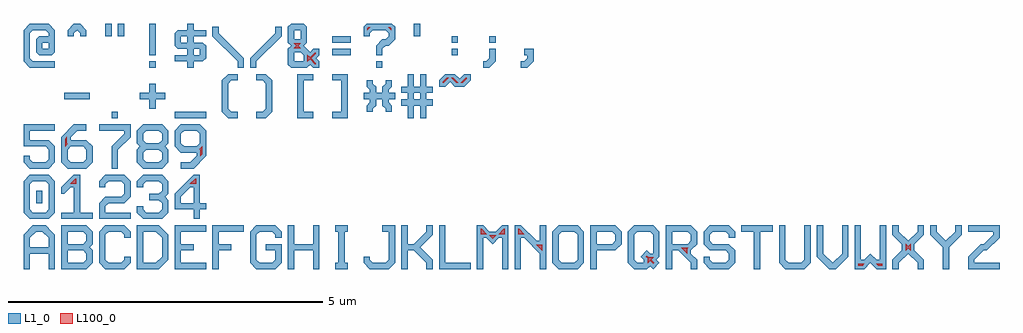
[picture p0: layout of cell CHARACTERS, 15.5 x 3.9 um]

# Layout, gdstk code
import gdstk
lib = gdstk.Library(unit=1e-6, precision=1e-09)
def R(c, l, rs):  # rectangles x0, y0, x1, y1
    for r in rs: c.add(gdstk.rectangle(r[:2], r[2:], *l))
def P(c, l, *ps):  # polygons
    for p in ps: c.add(gdstk.Polygon(p, *l))
L1_0 = (1, 0)
L100_0 = (100, 0)

c_0 = lib.new_cell('0')
R(c_0, L1_0, [(0.2,0.25,0.3,0.45)])
P(c_0, L1_0, [(0.1,0),(0,0.1),(0,0.6),(0.1,0.7),(0.4,0.7),(0.5,0.6),(0.15,0.6),(0.1,0.55),(0.1,0.15),(0.15,0.1),(0.35,0.1),(0.4,0.15),(0.4,0.55),(0.35,0.6),(0.5,0.6),(0.5,0.1),(0.4,0)])

c_8 = lib.new_cell('8')
P(c_8, L1_0, [(0.1,0),(0,0.1),(0,0.3),(0.05,0.35),(0,0.4),(0,0.6),(0.1,0.7),(0.4,0.7),(0.5,0.6),(0.15,0.6),(0.1,0.55),(0.1,0.45),(0.15,0.4),(0.35,0.4),(0.4,0.45),(0.4,0.55),(0.35,0.6),(0.5,0.6),(0.5,0.4),(0.45,0.35),(0.5,0.3),(0.15,0.3),(0.1,0.25),(0.1,0.15),(0.15,0.1),(0.35,0.1),(0.4,0.15),(0.4,0.25),(0.35,0.3),(0.5,0.3),(0.5,0.1),(0.4,0)])

c_5 = lib.new_cell('5')
P(c_5, L1_0, [(0.1,0),(0,0.1),(0,0.2),(0.1,0.2),(0.1,0.15),(0.15,0.1),(0.35,0.1),(0.4,0.15),(0.4,0.3),(0.35,0.35),(0,0.35),(0,0.7),(0.5,0.7),(0.5,0.6),(0.1,0.6),(0.1,0.45),(0.4,0.45),(0.5,0.35),(0.5,0.1),(0.4,0)])

c_2 = lib.new_cell('2')
P(c_2, L1_0, [(0,0),(0,0.25),(0.1,0.35),(0.35,0.35),(0.4,0.4),(0.4,0.55),(0.35,0.6),(0.15,0.6),(0.1,0.55),(0.1,0.5),(0,0.5),(0,0.6),(0.1,0.7),(0.4,0.7),(0.5,0.6),(0.5,0.35),(0.4,0.25),(0.15,0.25),(0.1,0.2),(0.1,0.1),(0.5,0.1),(0.5,0)])

c_y = lib.new_cell('Y')
P(c_y, L1_0, [(0.2,0),(0.2,0.35),(0,0.55),(0,0.7),(0.1,0.7),(0.1,0.6),(0.25,0.45),(0.4,0.6),(0.4,0.7),(0.5,0.7),(0.5,0.55),(0.3,0.35),(0.3,0)])

c_v = lib.new_cell('V')
P(c_v, L1_0, [(0.2,0),(0,0.2),(0,0.7),(0.1,0.7),(0.1,0.25),(0.25,0.1),(0.4,0.25),(0.4,0.7),(0.5,0.7),(0.5,0.2),(0.3,0)])

c_s = lib.new_cell('S')
P(c_s, L1_0, [(0.1,0),(0,0.1),(0,0.2),(0.1,0.2),(0.1,0.15),(0.15,0.1),(0.35,0.1),(0.4,0.15),(0.4,0.25),(0.35,0.3),(0.1,0.3),(0,0.4),(0,0.6),(0.1,0.7),(0.4,0.7),(0.5,0.6),(0.5,0.5),(0.4,0.5),(0.4,0.55),(0.35,0.6),(0.15,0.6),(0.1,0.55),(0.1,0.45),(0.15,0.4),(0.4,0.4),(0.5,0.3),(0.5,0.1),(0.4,0)])

c_p = lib.new_cell('P')
P(c_p, L1_0, [(0,0),(0,0.7),(0.4,0.7),(0.5,0.6),(0.5,0.4),(0.4,0.3),(0.1,0.3),(0.1,0.4),(0.35,0.4),(0.4,0.45),(0.4,0.55),(0.35,0.6),(0.1,0.6),(0.1,0)])

c_m = lib.new_cell('M')
P(c_m, L1_0, [(0,0),(0,0.7),(0.1,0.7),(0.2,0.6),(0.3,0.6),(0.4,0.7),(0.5,0.7),(0.5,0),(0.4,0),(0.4,0.5),(0.35,0.5),(0.25,0.4),(0.15,0.5),(0.1,0.5),(0.1,0)])

c_j = lib.new_cell('J')
P(c_j, L1_0, [(0.1,0),(0,0.1),(0,0.2),(0.1,0.2),(0.1,0.15),(0.15,0.1),(0.35,0.1),(0.4,0.15),(0.4,0.6),(0.3,0.6),(0.3,0.7),(0.5,0.7),(0.5,0.1),(0.4,0)])

c_c = lib.new_cell('C')
P(c_c, L1_0, [(0.1,0),(0,0.1),(0,0.6),(0.1,0.7),(0.4,0.7),(0.5,0.6),(0.5,0.5),(0.4,0.5),(0.4,0.55),(0.35,0.6),(0.15,0.6),(0.1,0.55),(0.1,0.15),(0.15,0.1),(0.35,0.1),(0.4,0.15),(0.4,0.2),(0.5,0.2),(0.5,0.1),(0.4,0)])

c_f = lib.new_cell('F')
P(c_f, L1_0, [(0,0),(0,0.7),(0.5,0.7),(0.5,0.6),(0.1,0.6),(0.1,0.4),(0.3,0.4),(0.3,0.3),(0.1,0.3),(0.1,0)])

c_i = lib.new_cell('I')
P(c_i, L1_0, [(0.15,0),(0.15,0.1),(0.2,0.1),(0.2,0.6),(0.15,0.6),(0.15,0.7),(0.35,0.7),(0.35,0.6),(0.3,0.6),(0.3,0.1),(0.35,0.1),(0.35,0)])

c_9 = lib.new_cell('9')
P(c_9, L1_0, [(0.1,0),(0.1,0.1),(0.25,0.1),(0.35,0.2),(0.35,0.25),(0.1,0.25),(0,0.35),(0.35,0.35),(0.4,0.4),(0.4,0.55),(0.35,0.6),(0.15,0.6),(0.1,0.55),(0.1,0.4),(0.15,0.35),(0,0.35),(0,0.6),(0.1,0.7),(0.4,0.7),(0.5,0.6),(0.5,0.2),(0.3,0)])

c_6 = lib.new_cell('6')
P(c_6, L1_0, [(0.1,0),(0,0.1),(0,0.5),(0.2,0.7),(0.4,0.7),(0.4,0.6),(0.25,0.6),(0.15,0.5),(0.15,0.45),(0.4,0.45),(0.5,0.35),(0.15,0.35),(0.1,0.3),(0.1,0.15),(0.15,0.1),(0.35,0.1),(0.4,0.15),(0.4,0.3),(0.35,0.35),(0.5,0.35),(0.5,0.1),(0.4,0)])

c_3 = lib.new_cell('3')
P(c_3, L1_0, [(0.1,0),(0,0.1),(0,0.2),(0.1,0.2),(0.1,0.15),(0.15,0.1),(0.35,0.1),(0.4,0.15),(0.4,0.25),(0.35,0.3),(0.2,0.3),(0.2,0.4),(0.35,0.4),(0.4,0.45),(0.4,0.55),(0.35,0.6),(0.15,0.6),(0.1,0.55),(0.1,0.5),(0,0.5),(0,0.6),(0.1,0.7),(0.4,0.7),(0.5,0.6),(0.5,0.4),(0.45,0.35),(0.5,0.3),(0.5,0.1),(0.4,0)])

c_z = lib.new_cell('Z')
P(c_z, L1_0, [(0,0),(0,0.2),(0.2,0.4),(0.25,0.4),(0.4,0.55),(0.4,0.6),(0,0.6),(0,0.7),(0.5,0.7),(0.5,0.5),(0.3,0.3),(0.25,0.3),(0.1,0.15),(0.1,0.1),(0.5,0.1),(0.5,0)])

c_w = lib.new_cell('W')
P(c_w, L1_0, [(0,0),(0,0.7),(0.1,0.7),(0.1,0.15),(0.15,0.15),(0.25,0.25),(0.35,0.15),(0.4,0.15),(0.4,0.7),(0.5,0.7),(0.5,0),(0.35,0),(0.25,0.1),(0.15,0)])

c_t = lib.new_cell('T')
P(c_t, L1_0, [(0.2,0),(0.2,0.6),(0,0.6),(0,0.7),(0.5,0.7),(0.5,0.6),(0.3,0.6),(0.3,0)])

c_q = lib.new_cell('Q')
P(c_q, L1_0, [(0.1,0),(0,0.1),(0,0.6),(0.1,0.7),(0.4,0.7),(0.5,0.6),(0.15,0.6),(0.1,0.55),(0.1,0.15),(0.15,0.1),(0.25,0.1),(0.25,0.15),(0.2,0.2),(0.3,0.3),(0.35,0.25),(0.4,0.25),(0.4,0.55),(0.35,0.6),(0.5,0.6),(0.5,0.2),(0.45,0.15),(0.5,0.1),(0.4,0),(0.35,0.05),(0.3,0)])

c_n = lib.new_cell('N')
P(c_n, L1_0, [(0,0),(0,0.7),(0.1,0.7),(0.35,0.45),(0.4,0.45),(0.4,0.7),(0.5,0.7),(0.5,0),(0.4,0),(0.4,0.25),(0.15,0.5),(0.1,0.5),(0.1,0)])

c_k = lib.new_cell('K')
P(c_k, L1_0, [(0,0),(0,0.7),(0.1,0.7),(0.1,0.4),(0.2,0.4),(0.4,0.6),(0.4,0.7),(0.5,0.7),(0.5,0.55),(0.3,0.35),(0.5,0.15),(0.5,0),(0.4,0),(0.4,0.1),(0.2,0.3),(0.1,0.3),(0.1,0)])

c_b = lib.new_cell('B')
P(c_b, L1_0, [(0,0),(0,0.7),(0.4,0.7),(0.5,0.6),(0.1,0.6),(0.1,0.4),(0.35,0.4),(0.4,0.45),(0.4,0.55),(0.35,0.6),(0.5,0.6),(0.5,0.4),(0.45,0.35),(0.5,0.3),(0.1,0.3),(0.1,0.1),(0.35,0.1),(0.4,0.15),(0.4,0.25),(0.35,0.3),(0.5,0.3),(0.5,0.1),(0.4,0)])

c_e = lib.new_cell('E')
P(c_e, L1_0, [(0,0),(0,0.7),(0.5,0.7),(0.5,0.6),(0.1,0.6),(0.1,0.4),(0.3,0.4),(0.3,0.3),(0.1,0.3),(0.1,0.1),(0.5,0.1),(0.5,0)])

c_h = lib.new_cell('H')
P(c_h, L1_0, [(0,0),(0,0.7),(0.1,0.7),(0.1,0.4),(0.4,0.4),(0.4,0.7),(0.5,0.7),(0.5,0),(0.4,0),(0.4,0.3),(0.1,0.3),(0.1,0)])

c_7 = lib.new_cell('7')
P(c_7, L1_0, [(0.2,0),(0.2,0.35),(0.4,0.55),(0.4,0.6),(0,0.6),(0,0.7),(0.5,0.7),(0.5,0.5),(0.3,0.3),(0.3,0)])

c_4 = lib.new_cell('4')
P(c_4, L1_0, [(0.3,0),(0.3,0.15),(0,0.15),(0,0.25),(0.3,0.25),(0.3,0.5),(0.25,0.5),(0.1,0.35),(0.1,0.25),(0,0.25),(0,0.4),(0.3,0.7),(0.4,0.7),(0.4,0.25),(0.5,0.25),(0.5,0.15),(0.4,0.15),(0.4,0)])

c_1 = lib.new_cell('1')
P(c_1, L1_0, [(0,0),(0,0.1),(0.2,0.1),(0.2,0.5),(0.15,0.5),(0.05,0.4),(0,0.4),(0,0.5),(0.2,0.7),(0.3,0.7),(0.3,0.1),(0.5,0.1),(0.5,0)])

c_x = lib.new_cell('X')
P(c_x, L1_0, [(0,0),(0,0.15),(0.15,0.3),(0.15,0.4),(0,0.55),(0,0.7),(0.1,0.7),(0.1,0.6),(0.25,0.45),(0.4,0.6),(0.4,0.7),(0.5,0.7),(0.5,0.55),(0.35,0.4),(0.35,0.3),(0.5,0.15),(0.5,0),(0.4,0),(0.4,0.1),(0.25,0.25),(0.1,0.1),(0.1,0)])

c_u = lib.new_cell('U')
P(c_u, L1_0, [(0.1,0),(0,0.1),(0,0.7),(0.1,0.7),(0.1,0.15),(0.15,0.1),(0.35,0.1),(0.4,0.15),(0.4,0.7),(0.5,0.7),(0.5,0.1),(0.4,0)])

c_r = lib.new_cell('R')
P(c_r, L1_0, [(0,0),(0,0.7),(0.4,0.7),(0.5,0.6),(0.1,0.6),(0.1,0.4),(0.35,0.4),(0.4,0.45),(0.4,0.55),(0.35,0.6),(0.5,0.6),(0.5,0.4),(0.4,0.3),(0.4,0.25),(0.5,0.15),(0.5,0),(0.4,0),(0.4,0.1),(0.2,0.3),(0.1,0.3),(0.1,0)])

c_o = lib.new_cell('O')
P(c_o, L1_0, [(0.1,0),(0,0.1),(0,0.6),(0.1,0.7),(0.4,0.7),(0.5,0.6),(0.5,0.35),(0.4,0.35),(0.4,0.55),(0.35,0.6),(0.15,0.6),(0.1,0.55),(0.1,0.15),(0.15,0.1),(0.35,0.1),(0.4,0.15),(0.4,0.35),(0.5,0.35),(0.5,0.1),(0.4,0)])

c_l = lib.new_cell('L')
P(c_l, L1_0, [(0,0),(0,0.7),(0.1,0.7),(0.1,0.1),(0.5,0.1),(0.5,0)])

c_a = lib.new_cell('A')
P(c_a, L1_0, [(0,0),(0,0.55),(0.15,0.7),(0.35,0.7),(0.45,0.6),(0.2,0.6),(0.1,0.5),(0.1,0.35),(0.4,0.35),(0.4,0.5),(0.3,0.6),(0.45,0.6),(0.5,0.55),(0.5,0),(0.4,0),(0.4,0.25),(0.1,0.25),(0.1,0)])

c_d = lib.new_cell('D')
P(c_d, L1_0, [(0,0),(0,0.7),(0.35,0.7),(0.45,0.6),(0.1,0.6),(0.1,0.1),(0.3,0.1),(0.4,0.2),(0.4,0.5),(0.3,0.6),(0.45,0.6),(0.5,0.55),(0.5,0.15),(0.35,0)])

c_g = lib.new_cell('G')
P(c_g, L1_0, [(0.1,0),(0,0.1),(0,0.6),(0.1,0.7),(0.4,0.7),(0.5,0.6),(0.5,0.5),(0.4,0.5),(0.4,0.55),(0.35,0.6),(0.15,0.6),(0.1,0.55),(0.1,0.15),(0.15,0.1),(0.35,0.1),(0.4,0.15),(0.4,0.3),(0.25,0.3),(0.25,0.4),(0.5,0.4),(0.5,0.1),(0.4,0)])

characters = lib.new_cell('CHARACTERS')
R(characters, L1_0, [(1.4,2.4,1.5,2.5), (2.4,2.4,2.9,2.5), (0.65,2.7,1.05,2.8), (2,3.2,2.1,3.3), (5.6,3.2,5.7,3.3), (2,3.4,2.1,3.9), (4.9,3.4,5.2,3.5), (6.8,3.4,6.9,3.5), (4.9,3.6,5.2,3.7), (6.8,3.6,6.9,3.7), (7.4,3.6,7.5,3.7), (1.3,3.7,1.4,3.9), (1.5,3.7,1.6,3.9), (6.2,3.7,6.3,3.9)])
P(characters, L1_0, [(3.6,3.2),(3.6,3.35),(4,3.75),(4,3.85),(4.1,3.85),(4.1,3.7),(3.7,3.3),(3.7,3.2)],
  [(6.1,2.4),(6.1,2.6),(6,2.6),(6,2.7),(6.1,2.7),(6.1,2.8),(6,2.8),(6,2.9),(6.1,2.9),(6.1,3.1),(6.2,3.1),(6.2,2.9),(6.3,2.9),(6.3,3.1),(6.4,3.1),(6.4,2.9),(6.5,2.9),(6.5,2.8),(6.4,2.8),(6.4,2.7),(6.5,2.7),(6.5,2.6),(6.4,2.6),(6.4,2.4),(6.3,2.4),(6.3,2.8),(6.2,2.8),(6.2,2.7),(6.3,2.7),(6.3,2.6),(6.2,2.6),(6.2,2.4)],
  [(7.9,3.2),(7.9,3.3),(7.95,3.3),(8,3.35),(8,3.4),(7.95,3.4),(7.95,3.5),(8.1,3.5),(8.1,3.3),(8,3.2)],
  [(6.6,2.9),(6.6,3),(6.7,3.1),(6.85,3.1),(6.925,3.025),(7,3.1),(7.1,3.1),(7.1,3),(7,2.9),(6.85,2.9),(6.775,2.975),(6.7,2.9)],
  [(3.4,3.2),(3.4,3.3),(3,3.7),(3,3.85),(3.1,3.85),(3.1,3.75),(3.5,3.35),(3.5,3.2)],
  [(5.6,3.4),(5.6,3.55),(5.7,3.65),(5.75,3.65),(5.8,3.7),(5.8,3.75),(5.75,3.8),(5.55,3.8),(5.5,3.75),(5.5,3.7),(5.4,3.7),(5.4,3.85),(5.45,3.9),(5.85,3.9),(5.9,3.85),(5.9,3.65),(5.8,3.55),(5.75,3.55),(5.7,3.5),(5.7,3.4)],
  [(5.45,2.5),(5.45,2.6),(5.5,2.65),(5.5,2.7),(5.4,2.7),(5.4,2.8),(5.5,2.8),(5.5,2.85),(5.45,2.9),(5.45,3),(5.55,3),(5.55,2.95),(5.6,2.9),(5.6,2.8),(5.7,2.8),(5.7,2.9),(5.75,2.95),(5.75,3),(5.85,3),(5.85,2.9),(5.8,2.85),(5.8,2.8),(5.9,2.8),(5.9,2.7),(5.8,2.7),(5.8,2.65),(5.85,2.6),(5.85,2.5),(5.75,2.5),(5.75,2.55),(5.7,2.6),(5.7,2.7),(5.6,2.7),(5.6,2.6),(5.55,2.55),(5.55,2.5)],
  [(2,2.55),(2,2.7),(1.85,2.7),(1.85,2.8),(2,2.8),(2,2.95),(2.1,2.95),(2.1,2.8),(2.25,2.8),(2.25,2.7),(2.1,2.7),(2.1,2.55)],
  [(4.25,3.2),(4.2,3.25),(4.2,3.5),(4.25,3.55),(4.2,3.6),(4.2,3.85),(4.25,3.9),(4.45,3.9),(4.5,3.85),(4.5,3.8),(4.3,3.8),(4.3,3.65),(4.4,3.65),(4.4,3.8),(4.5,3.8),(4.5,3.6),(4.45,3.55),(4.55,3.45),(4.6,3.5),(4.7,3.5),(4.7,3.45),(4.3,3.45),(4.3,3.3),(4.45,3.3),(4.45,3.4),(4.4,3.45),(4.7,3.45),(4.7,3.4),(4.65,3.35),(4.7,3.3),(4.7,3.2),(4.6,3.2),(4.55,3.25),(4.5,3.2)],
  [(2.6,3.2),(2.6,3.3),(2.4,3.3),(2.4,3.4),(2.6,3.4),(2.6,3.5),(2.45,3.5),(2.4,3.55),(2.4,3.75),(2.45,3.8),(2.6,3.8),(2.6,3.9),(2.7,3.9),(2.7,3.8),(2.9,3.8),(2.9,3.7),(2.5,3.7),(2.5,3.6),(2.6,3.6),(2.6,3.7),(2.7,3.7),(2.7,3.6),(2.85,3.6),(2.9,3.55),(2.9,3.5),(2.7,3.5),(2.7,3.4),(2.8,3.4),(2.8,3.5),(2.9,3.5),(2.9,3.35),(2.85,3.3),(2.7,3.3),(2.7,3.2)],
  [(0.7,3.7),(0.7,3.8),(0.8,3.9),(0.9,3.9),(1,3.8),(1,3.7),(0.9,3.7),(0.9,3.75),(0.85,3.8),(0.8,3.75),(0.8,3.7)],
  [(0.1,3.2),(0,3.3),(0,3.8),(0.1,3.9),(0.4,3.9),(0.5,3.8),(0.5,3.5),(0.4,3.5),(0.4,3.6),(0.3,3.6),(0.3,3.5),(0.5,3.5),(0.5,3.45),(0.45,3.4),(0.25,3.4),(0.2,3.45),(0.2,3.65),(0.25,3.7),(0.4,3.7),(0.4,3.75),(0.35,3.8),(0.15,3.8),(0.1,3.75),(0.1,3.35),(0.15,3.3),(0.5,3.3),(0.5,3.2)],
  [(7.3,3.2),(7.3,3.3),(7.35,3.3),(7.4,3.35),(7.4,3.5),(7.5,3.5),(7.5,3.3),(7.4,3.2)],
  [(3.25,2.4),(3.15,2.5),(3.15,3),(3.25,3.1),(3.4,3.1),(3.4,3),(3.3,3),(3.25,2.95),(3.25,2.55),(3.3,2.5),(3.4,2.5),(3.4,2.4)],
  [(4.9,2.4),(4.9,2.5),(5.05,2.5),(5.05,3),(4.9,3),(4.9,3.1),(5.15,3.1),(5.15,2.4)],
  [(3.7,2.4),(3.7,2.5),(3.8,2.5),(3.85,2.55),(3.85,2.95),(3.8,3),(3.7,3),(3.7,3.1),(3.85,3.1),(3.95,3),(3.95,2.5),(3.85,2.4)],
  [(4.35,2.4),(4.35,3.1),(4.6,3.1),(4.6,3),(4.45,3),(4.45,2.5),(4.6,2.5),(4.6,2.4)])
P(characters, L100_0, [(6.944,2.96),(7.024,3.04),(7.04,3.04),(7.04,3.024),(6.976,2.96)],
  [(6.874,2.96),(6.794,3.04),(6.826,3.04),(6.906,2.96)],
  [(0.66,1.944),(0.66,2.076),(0.69,2.106),(0.69,1.99),(0.706,1.99)],
  [(13.574,0.06),(13.544,0.09),(13.64,0.09),(13.64,0.06)],
  [(5.84,3.794),(5.794,3.84),(5.826,3.84),(5.84,3.826)],
  [(6.66,2.96),(6.66,2.976),(6.724,3.04),(6.756,3.04),(6.676,2.96)],
  [(8.24,0.294),(8.144,0.39),(8.24,0.39)],
  [(7.26,0.56),(7.26,0.64),(7.276,0.64),(7.356,0.56)],
  [(7.86,0.56),(7.86,0.64),(7.876,0.64),(7.956,0.56)],
  [(10,0.084),(9.95,0.134),(9.91,0.094),(9.91,0.174),(9.884,0.2),(9.9,0.216),(9.926,0.19),(10.006,0.19),(9.966,0.15),(10.016,0.1)],
  [(7.45,0.484),(7.394,0.54),(7.506,0.54)],
  [(4.294,3.51),(4.334,3.55),(4.294,3.59),(4.406,3.59),(4.366,3.55),(4.406,3.51)],
  [(13.26,0.06),(13.26,0.09),(13.356,0.09),(13.326,0.06)],
  [(14.01,0.294),(14.01,0.406),(14.05,0.366),(14.09,0.406),(14.09,0.294),(14.05,0.334)],
  [(2.81,1.794),(2.81,1.91),(2.794,1.91),(2.84,1.956),(2.84,1.824)],
  [(5.46,3.794),(5.46,3.826),(5.474,3.84),(5.506,3.84)],
  [(4.624,3.26),(4.55,3.334),(4.51,3.294),(4.51,3.406),(4.55,3.366),(4.624,3.44),(4.64,3.44),(4.64,3.424),(4.566,3.35),(4.64,3.276),(4.64,3.26)],
  [(10.54,0.244),(10.444,0.34),(10.556,0.34),(10.54,0.324)],
  [(7.544,0.56),(7.624,0.64),(7.64,0.64),(7.64,0.56)],
  [(0.744,1.36),(0.824,1.44),(0.84,1.44),(0.84,1.36)],
  [(2.644,1.36),(2.724,1.44),(2.74,1.44),(2.74,1.36)])
characters.add(gdstk.Reference(c_0, (0,0.8)))
characters.add(gdstk.Reference(c_8, (1.8,1.6)))
characters.add(gdstk.Reference(c_5, (0,1.6)))
characters.add(gdstk.Reference(c_2, (1.2,0.8)))
characters.add(gdstk.Reference(c_y, (14.4,0)))
characters.add(gdstk.Reference(c_v, (12.6,0)))
characters.add(gdstk.Reference(c_s, (10.8,0)))
characters.add(gdstk.Reference(c_p, (9,0)))
characters.add(gdstk.Reference(c_m, (7.2,0)))
characters.add(gdstk.Reference(c_j, (5.4,0)))
characters.add(gdstk.Reference(c_c, (1.2,0)))
characters.add(gdstk.Reference(c_f, (3,0)))
characters.add(gdstk.Reference(c_i, (4.8,0)))
characters.add(gdstk.Reference(c_9, (2.4,1.6)))
characters.add(gdstk.Reference(c_6, (0.6,1.6)))
characters.add(gdstk.Reference(c_3, (1.8,0.8)))
characters.add(gdstk.Reference(c_z, (15,0)))
characters.add(gdstk.Reference(c_w, (13.2,0)))
characters.add(gdstk.Reference(c_t, (11.4,0)))
characters.add(gdstk.Reference(c_q, (9.6,0)))
characters.add(gdstk.Reference(c_n, (7.8,0)))
characters.add(gdstk.Reference(c_k, (6,0)))
characters.add(gdstk.Reference(c_b, (0.6,0)))
characters.add(gdstk.Reference(c_e, (2.4,0)))
characters.add(gdstk.Reference(c_h, (4.2,0)))
characters.add(gdstk.Reference(c_7, (1.2,1.6)))
characters.add(gdstk.Reference(c_4, (2.4,0.8)))
characters.add(gdstk.Reference(c_1, (0.6,0.8)))
characters.add(gdstk.Reference(c_x, (13.8,0)))
characters.add(gdstk.Reference(c_u, (12,0)))
characters.add(gdstk.Reference(c_r, (10.2,0)))
characters.add(gdstk.Reference(c_o, (8.4,0)))
characters.add(gdstk.Reference(c_l, (6.6,0)))
characters.add(gdstk.Reference(c_a, (0,0)))
characters.add(gdstk.Reference(c_d, (1.8,0)))
characters.add(gdstk.Reference(c_g, (3.6,0)))

lib.write_gds('CHARACTERS.gds')
